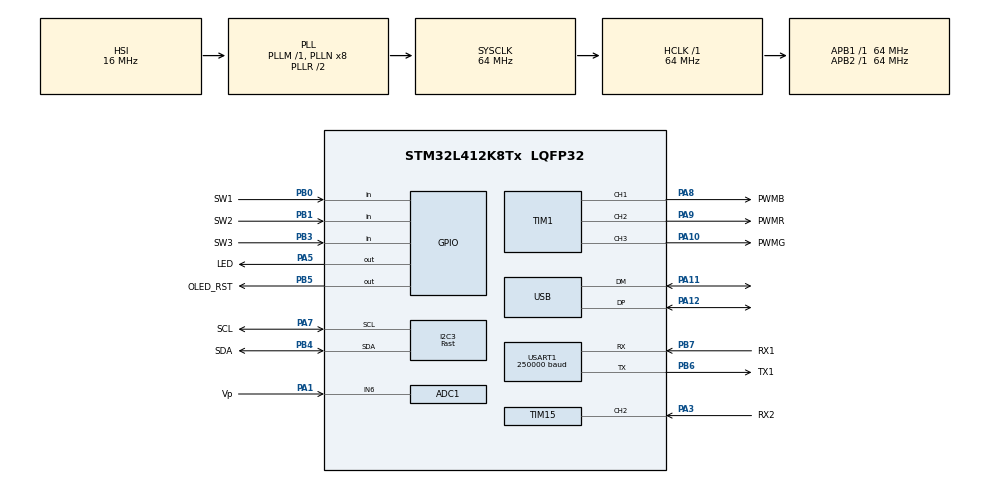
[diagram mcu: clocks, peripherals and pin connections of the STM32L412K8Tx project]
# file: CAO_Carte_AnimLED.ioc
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ADC1.Channel-0\#ChannelRegularConversion=ADC_CHANNEL_6
ADC1.ContinuousConvMode=ENABLE
ADC1.NbrOfConversionFlag=1
ADC1.OffsetNumber-0\#ChannelRegularConversion=ADC_OFFSET_NONE
ADC1.Rank-0\#ChannelRegularConversion=1
ADC1.SamplingTime-0\#ChannelRegularConversion=ADC_SAMPLETIME_2CYCLES_5
ADC1.master=1
I2C3.I2C_Speed_Mode=I2C_Fast
I2C3.Timing=0x00C12166
Mcu.Family=STM32L4
Mcu.Name=STM32L412K8Tx
Mcu.Package=LQFP32
NVIC.I2C3_EV_IRQn=true\:0\:0\:false\:false\:true\:true\:true\:true
NVIC.PriorityGroup=NVIC_PRIORITYGROUP_4
NVIC.TIM2_IRQn=true\:0\:0\:false\:false\:true\:true\:true\:true
NVIC.USART1_IRQn=true\:0\:0\:false\:false\:true\:true\:true\:true
NVIC.USB_IRQn=true\:0\:0\:false\:false\:true\:true\:true\:true
PA1.GPIO_Label=Vp
PA1.Signal=ADCx_IN6
PA10.GPIO_Label=PWMG
PA10.Signal=S_TIM1_CH3
PA11.Mode=Device
PA11.Signal=USB_DM
PA12.Mode=Device
PA12.Signal=USB_DP
PA13\ (JTMS/SWDIO).GPIO_Label=SWDIO
PA13\ (JTMS/SWDIO).Mode=Serial_Wire
PA13\ (JTMS/SWDIO).Signal=SYS_JTMS-SWDIO
PA14\ (JTCK/SWCLK).GPIO_Label=SWCLK
PA14\ (JTCK/SWCLK).Mode=Serial_Wire
PA14\ (JTCK/SWCLK).Signal=SYS_JTCK-SWCLK
PA3.GPIO_Label=RX2
PA3.Signal=S_TIM15_CH2
PA5.GPIO_Label=LED
PA5.GPIO_PuPd=GPIO_PULLUP
PA5.PinState=GPIO_PIN_SET
PA5.Signal=GPIO_Output
PA7.GPIO_Label=SCL
PA7.Mode=I2C
PA7.Signal=I2C3_SCL
PA8.GPIO_Label=PWMB
PA8.Signal=S_TIM1_CH1
PA9.GPIO_Label=PWMR
PA9.Signal=S_TIM1_CH2
PB0.GPIO_Label=SW1
PB0.Signal=GPIO_Input
PB1.GPIO_Label=SW2
PB1.Signal=GPIO_Input
PB3\ (JTDO/TRACESWO).GPIO_Label=SW3
PB3\ (JTDO/TRACESWO).Signal=GPIO_Input
PB4\ (NJTRST).GPIO_Label=SDA
PB4\ (NJTRST).Mode=I2C
PB4\ (NJTRST).Signal=I2C3_SDA
PB5.GPIO_Label=OLED_RST
PB5.Signal=GPIO_Output
PB6.GPIO_Label=TX1
PB6.Mode=Asynchronous
PB6.Signal=USART1_TX
PB7.GPIO_Label=RX1
PB7.Mode=Asynchronous
PB7.Signal=USART1_RX
PC14-OSC32_IN\ (PC14).Mode=LSE-External-Oscillator
PC14-OSC32_IN\ (PC14).Signal=RCC_OSC32_IN
PC15-OSC32_OUT\ (PC15).Mode=LSE-External-Oscillator
PC15-OSC32_OUT\ (PC15).Signal=RCC_OSC32_OUT
ProjectManager.HeapSize=0x600
ProjectManager.StackSize=0x400
ProjectManager.TargetToolchain=STM32CubeIDE
RCC.ADCFreq_Value=64000000
RCC.AHBFreq_Value=64000000
RCC.APB1Freq_Value=64000000
RCC.APB1TimFreq_Value=64000000
RCC.APB2Freq_Value=64000000
RCC.APB2TimFreq_Value=64000000
RCC.CK48CLockSelection=RCC_USBCLKSOURCE_HSI48
RCC.CortexFreq_Value=64000000
RCC.HCLKFreq_Value=64000000
RCC.HSE_VALUE=8000000
RCC.HSI48_VALUE=48000000
RCC.HSI_VALUE=16000000
RCC.MSIClockRange=RCC_MSIRANGE_11
RCC.MSI_VALUE=48000000
RCC.PLLSourceVirtual=RCC_PLLSOURCE_HSI
RCC.SYSCLKFreq_VALUE=64000000
RCC.SYSCLKSource=RCC_SYSCLKSOURCE_PLLCLK
RCC.USBFreq_Value=48000000
RCC.VCOOutputFreq_Value=128000000
SH.ADCx_IN6.0=ADC1_IN6,IN6-Single-Ended
SH.S_TIM15_CH2.0=TIM15_CH2,Input_Capture2_from_TI2
SH.S_TIM1_CH1.0=TIM1_CH1,PWM Generation1 CH1
SH.S_TIM1_CH2.0=TIM1_CH2,PWM Generation2 CH2
SH.S_TIM1_CH3.0=TIM1_CH3,PWM Generation3 CH3
TIM1.Channel-PWM\ Generation1\ CH1=TIM_CHANNEL_1
TIM1.Channel-PWM\ Generation2\ CH2=TIM_CHANNEL_2
TIM1.Channel-PWM\ Generation3\ CH3=TIM_CHANNEL_3
TIM15.Channel-Input_Capture2_from_TI2=TIM_CHANNEL_2
TIM15.Prescaler=63
TIM2.Period=65535
TIM2.Prescaler=3
USART1.BaudRate=250000
USART1.StopBits=STOPBITS_2
USART1.VirtualMode-Asynchronous=VM_ASYNC
USART1.WordLength=WORDLENGTH_8B
USB_DEVICE.CLASS_NAME_FS=CDC
USB_DEVICE.VirtualMode=Cdc
USB_DEVICE.VirtualModeFS=Cdc_FS
VP_TIM15_VS_ClockSourceINT.Mode=Internal
VP_TIM2_VS_ClockSourceINT.Mode=Internal
VP_USB_DEVICE_VS_USB_DEVICE_CDC_FS.Mode=CDC_FS
board=custom

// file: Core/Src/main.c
/* USER CODE BEGIN Header */
/**
  ******************************************************************************
  * @file           : main.c
  * @brief          : Main program body
  ******************************************************************************
  * @attention
  *
  * Copyright (c) 2025 STMicroelectronics.
  * All rights reserved.
  *
  * This software is licensed under terms that can be found in the LICENSE file
  * in the root directory of this software component.
  * If no LICENSE file comes with this software, it is provided AS-IS.
  *
  ******************************************************************************
  */
/* USER CODE END Header */
#include "main.h"
#include "adc.h"
#include "i2c.h"
#include "tim.h"
#include "usart.h"
#include "usb_device.h"
#include "gpio.h"

/* USER CODE BEGIN Includes */
#include "dmx512.h"
#include <stdio.h>
#include "ssd1306.h"
#include "fonts.h"

/* USER CODE END Includes */

void SystemClock_Config(void);

int main(void)
{

  /* MCU Configuration--------------------------------------------------------*/

  /* Reset of all peripherals, Initializes the Flash interface and the Systick. */
  HAL_Init();

  /* Configure the system clock */
  SystemClock_Config();

  /* Initialize all configured peripherals */
  MX_GPIO_Init();
  MX_ADC1_Init();
  MX_TIM2_Init();
  MX_I2C3_Init();
  MX_TIM1_Init();
  MX_TIM15_Init();
  MX_USART1_UART_Init();
  MX_USB_DEVICE_Init();
  /* USER CODE BEGIN 2 */
  DMX_Init(&huart1, 1);

  HAL_GPIO_WritePin(LED_GPIO_Port, LED_Pin, 0);
  HAL_GPIO_WritePin(OLED_RST_GPIO_Port, OLED_RST_Pin, 0);
  HAL_Delay(100);
  HAL_GPIO_WritePin(OLED_RST_GPIO_Port, OLED_RST_Pin, 1);
  HAL_Delay(100);

  SSD1306_Init();
  SSD1306_Clear();
  SSD1306_GotoXY (0,0); // goto 10, 10
  SSD1306_Puts ("test", &Font_7x10, SSD1306_COLOR_WHITE);
  SSD1306_UpdateScreen(); // update screen

  /* USER CODE END 2 */

  /* Infinite loop */
  while (1)
  {

    /* USER CODE BEGIN 3 */

	      /* USER CODE END WHILE */

	      /* USER CODE BEGIN 3 */

	  // Vérifier si une nouvelle trame DMX est disponible
	  if (DMX_IsNewFrameAvailable())
	  {
		  DMX_DataTypeDef dmxData, finalData;

		  // Décoder la trame DMX
		  if (DMX_DecodeFrame(&dmxData))
		  {
			  // ===== AFFICHAGE DES DONNÉES AVEC DIMMER APPLIQUÉ =====
			  char buffer[200];
			  DMX_ApplyDimmer(&dmxData, &finalData);

			  sprintf(buffer, "FINAL    R:%03d G:%03d B:%03d (Dimmer appliqué)\r\n\r\n",
					  finalData.red,
					  finalData.green,
					  finalData.blue);

//			  CDC_Transmit_FS((uint8_t*)buffer, strlen(buffer));

			  // TODO : Appliquer finalData aux PWM
			  // __HAL_TIM_SET_COMPARE(&htimX, TIM_CHANNEL_X, finalData.red);
		  }
	  }
  }
  /* USER CODE END 3 */
}

void SystemClock_Config(void)
{
  RCC_OscInitTypeDef RCC_OscInitStruct = {0};
  RCC_ClkInitTypeDef RCC_ClkInitStruct = {0};

  /** Configure the main internal regulator output voltage
  */
  if (HAL_PWREx_ControlVoltageScaling(PWR_REGULATOR_VOLTAGE_SCALE1) != HAL_OK)
  {
    Error_Handler();
  }

  /** Initializes the RCC Oscillators according to the specified parameters
  * in the RCC_OscInitTypeDef structure.
  */
  RCC_OscInitStruct.OscillatorType = RCC_OSCILLATORTYPE_HSI48|RCC_OSCILLATORTYPE_HSI;
  RCC_OscInitStruct.HSIState = RCC_HSI_ON;
  RCC_OscInitStruct.HSI48State = RCC_HSI48_ON;
  RCC_OscInitStruct.HSICalibrationValue = RCC_HSICALIBRATION_DEFAULT;
  RCC_OscInitStruct.PLL.PLLState = RCC_PLL_ON;
  RCC_OscInitStruct.PLL.PLLSource = RCC_PLLSOURCE_HSI;
  RCC_OscInitStruct.PLL.PLLM = 1;
  RCC_OscInitStruct.PLL.PLLN = 8;
  RCC_OscInitStruct.PLL.PLLQ = RCC_PLLQ_DIV2;
  RCC_OscInitStruct.PLL.PLLR = RCC_PLLR_DIV2;
  if (HAL_RCC_OscConfig(&RCC_OscInitStruct) != HAL_OK)
  {
    Error_Handler();
  }

  /** Initializes the CPU, AHB and APB buses clocks
  */
  RCC_ClkInitStruct.ClockType = RCC_CLOCKTYPE_HCLK|RCC_CLOCKTYPE_SYSCLK
                              |RCC_CLOCKTYPE_PCLK1|RCC_CLOCKTYPE_PCLK2;
  RCC_ClkInitStruct.SYSCLKSource = RCC_SYSCLKSOURCE_PLLCLK;
  RCC_ClkInitStruct.AHBCLKDivider = RCC_SYSCLK_DIV1;
  RCC_ClkInitStruct.APB1CLKDivider = RCC_HCLK_DIV1;
  RCC_ClkInitStruct.APB2CLKDivider = RCC_HCLK_DIV1;

  if (HAL_RCC_ClockConfig(&RCC_ClkInitStruct, FLASH_LATENCY_3) != HAL_OK)
  {
    Error_Handler();
  }
}

void Error_Handler(void)
{
  __disable_irq();
  while (1)
  {
  }
}
